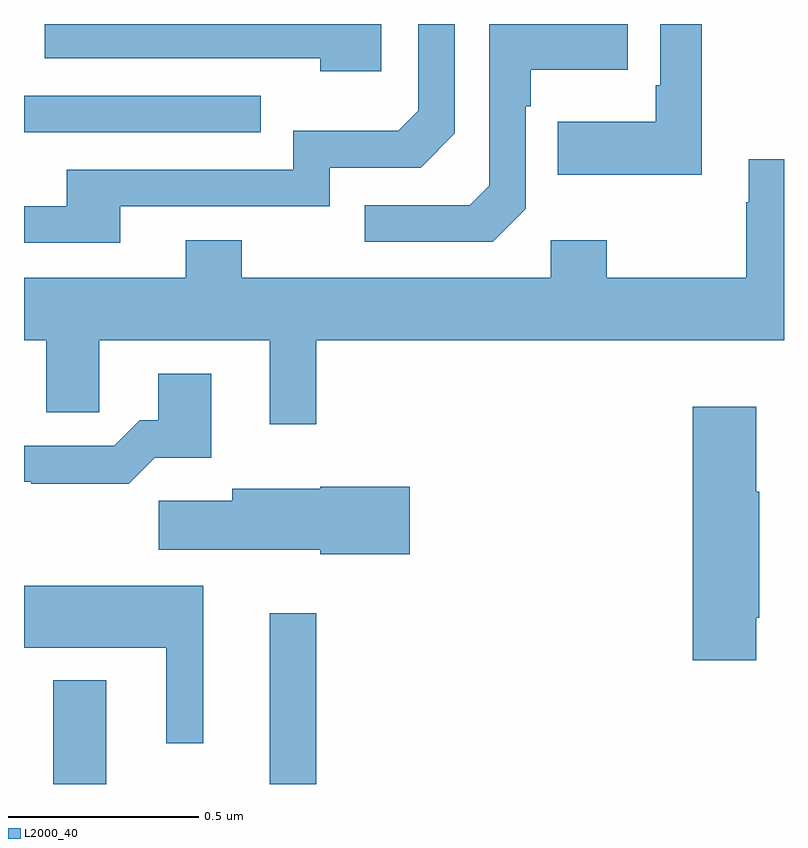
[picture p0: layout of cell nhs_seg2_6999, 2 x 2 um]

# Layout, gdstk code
import gdstk
lib = gdstk.Library(unit=1e-6, precision=1e-09)
def R(c, l, rs):  # rectangles x0, y0, x1, y1
    for r in rs: c.add(gdstk.rectangle(r[:2], r[2:], *l))
def P(c, l, *ps):  # polygons
    for p in ps: c.add(gdstk.Polygon(p, *l))
L2000_40 = (2000, 40)

nhs_seg2_6999 = lib.new_cell('nhs_seg2_6999')
R(nhs_seg2_6999, L2000_40, [(198.077,647.8,198.217,648.073), (198.647,647.8,198.769,648.25), (198,649.515,198.623,649.611)])
P(nhs_seg2_6999, L2000_40, [(198.253,649.32),(198.804,649.32),(198.804,649.422),(199.044,649.422),(199.134,649.512),(199.134,649.8),(199.038,649.8),(199.038,649.572),(198.985,649.519),(198.708,649.519),(198.708,649.416),(198.113,649.416),(198.113,649.32),(198,649.32),(198,649.224),(198.253,649.224)],
  [(199.783,649.8),(199.674,649.8),(199.674,649.639),(199.662,649.639),(199.662,649.543),(199.405,649.543),(199.405,649.403),(199.783,649.403)],
  [(199.32,649.314),(199.32,649.583),(199.333,649.583),(199.333,649.679),(199.589,649.679),(199.589,649.8),(199.224,649.8),(199.224,649.374),(199.173,649.323),(198.897,649.323),(198.897,649.227),(199.233,649.227)],
  [(198.94,649.8),(198.054,649.8),(198.054,649.71),(198.779,649.71),(198.779,649.676),(198.94,649.676)],
  [(198.769,648.968),(200,648.968),(200,649.444),(199.907,649.444),(199.907,649.331),(199.9,649.331),(199.9,649.132),(199.533,649.132),(199.533,649.231),(199.386,649.231),(199.386,649.132),(198.573,649.132),(198.573,649.231),(198.425,649.231),(198.425,649.132),(198,649.132),(198,648.968),(198.059,648.968),(198.059,648.778),(198.198,648.778),(198.198,648.968),(198.647,648.968),(198.647,648.747),(198.769,648.747)],
  [(198.344,648.659),(198.493,648.659),(198.493,648.88),(198.353,648.88),(198.353,648.757),(198.304,648.757),(198.237,648.69),(198,648.69),(198,648.596),(198.019,648.596),(198.019,648.59),(198.275,648.59)],
  [(199.927,648.238),(199.935,648.238),(199.935,648.569),(199.927,648.569),(199.927,648.793),(199.76,648.793),(199.76,648.126),(199.927,648.126)],
  [(199.015,648.582),(198.78,648.582),(198.78,648.577),(198.548,648.577),(198.548,648.545),(198.354,648.545),(198.354,648.416),(198.78,648.416),(198.78,648.404),(199.015,648.404)],
  [(198.472,648.322),(198,648.322),(198,648.158),(198.374,648.158),(198.374,647.907),(198.472,647.907)])

lib.write_gds('nhs_seg2_6999.gds')
